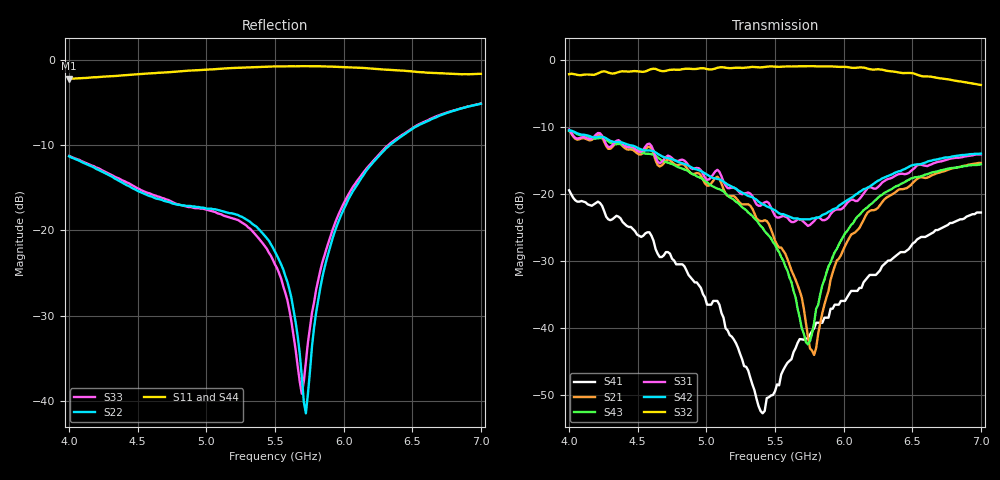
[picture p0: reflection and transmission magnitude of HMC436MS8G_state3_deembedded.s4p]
!Hittite Microwave Corporation
!12 Elizabeth Drive
!Chelmsford, MA 01824
!Tel: 978-250-3343
!Fax: 978-250-3373
!Device: HMC436MS8G, 4.9-5.9 GHz GaAs MMIC DPDT Diversity Switch in 8-lead Grounded Base surface Mount Plastic Package
!Misc:  Port 1 = ANT1, Port 2 = ANT2, Port 3 = Tx, Port 4 = Rx, Vctl=+3V, State 3 selected, Room
# MHZ S MA R 50
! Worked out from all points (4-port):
!   201 points, 4 GHz to 7 GHz, reference 50 ohm
!   strongest paths, dB at 4 GHz, 4.75 GHz, 5.5 GHz, 6.25 GHz, 7 GHz:
!     S32: -2.1, -1.4, -1.0, -1.4, -3.7
!     S42: -10.5, -14.8, -22.4, -18.0, -13.9
!     S31: -10.3, -14.6, -23.2, -18.9, -14.1
!     S43: -10.6, -15.5, -27.5, -20.5, -15.5
!     S21: -10.5, -15.2, -26.9, -22.0, -15.3
!     S41: -19.4, -29.6, -49.4, -31.7, -22.7
!   lowest |S11| = -2.2 dB at 4 GHz (marker M1), VSWR 7.93, Z = 372 - j95.3 ohm
!   |S11| at or under -10 dB: nowhere
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4000  0.776 -3.8  0.282 -2.0  0.287 2.8  0.111 -63.0
      0.299 -6.9  0.272 77.2  0.773 54.0  0.323 2.4
      0.304 -2.1  0.785 53.1  0.273 74.8  0.319 -3.6
      0.107 -66.6  0.299 2.4  0.296 -3.6  0.77 -5.6
5080  0.885 -41.2  0.117 -12.2  0.131 8.3  0.014 -77.4
      0.135 -11.7  0.132 -7.9  0.869 51.8  0.136 6.8
      0.152 8.8  0.876 52.6  0.126 2.3  0.115 -17.5
      0.016 -75.8  0.13 7.6  0.11 -16.3  0.88 -46.9
5395  0.91 -49.0  0.066 -16.9  0.087 22.4  0.002625 -146.2
      0.063 -14.2  0.099 -29.2  0.891 50.9  0.087 19.9
      0.082 25.1  0.882 50.8  0.087 -14.4  0.059 -24.4
      0.002415 -134.0  0.086 22.5  0.058 -22.0  0.905 -56.1
5725  0.919 -58.8  0.012 -48.3  0.062 62.3  0.008659 147.1
      0.011 -51.6  0.00844 -132.6  0.9 48.7  0.064 61.7
      0.06 59.1  0.899 48.8  0.017 107.3  0.007393 -93.0
      0.008327 147.5  0.065 62.4  0.007888 -92.0  0.917 -67.1
5785  0.919 -60.8  0.006523 -114.4  0.064 71.9  0.009477 152.8
      0.00633 -114.8  0.027 159.2  0.901 48.2  0.062 73.3
      0.063 74.6  0.901 48.3  0.038 129.7  0.01 -158.5
      0.009987 153.8  0.066 71.2  0.011 -160.1  0.916 -69.4
6055  0.905 -72.7  0.049 165.8  0.089 101.0  0.018 164.4
      0.05 164.6  0.163 134.4  0.886 45.0  0.093 101.7
      0.091 100.2  0.878 45.1  0.173 131.4  0.059 164.2
      0.019 161.4  0.094 99.9  0.059 162.6  0.9 -81.9
7000  0.829 -136.2  0.167 140.2  0.194 108.2  0.073 160.4
      0.171 139.9  0.553 120.9  0.655 40.3  0.206 102.2
      0.198 107.8  0.653 40.6  0.555 121.8  0.171 133.9
      0.073 160.8  0.201 102.6  0.167 134.5  0.833 -144.3
